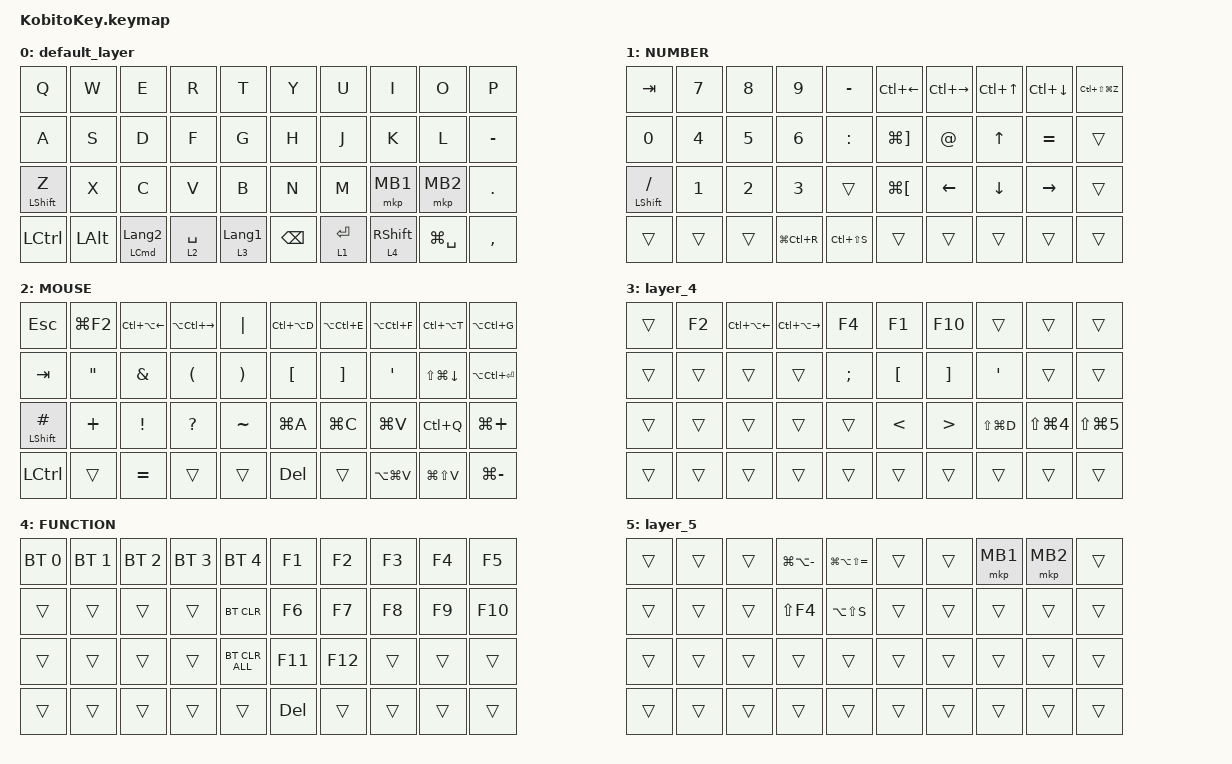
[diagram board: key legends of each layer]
#include <input/processors.dtsi>
#include <behaviors.dtsi>
#include <dt-bindings/zmk/bt.h>
#include <dt-bindings/zmk/keys.h>
#include <dt-bindings/zmk/pointing.h>

/ {
    combos {
        compatible = "zmk,combos";

        combo_eisu {
            timeout-ms = <50>;
            key-positions = <12 13>;
            bindings = <&kp LANG2>;
        };

        combo_kana {
            timeout-ms = <50>;
            key-positions = <16 17>;
            bindings = <&kp LANG1>;
        };

        combo_esc {
            timeout-ms = <50>;
            key-positions = <0 1>;
            bindings = <&kp ESC>;
        };

        combo_tab {
            timeout-ms = <50>;
            key-positions = <10 11>;
            bindings = <&kp TAB>;
        };
    };

    behaviors {
        z_shft: zmk,behavior-hold-tap {
            compatible = "zmk,behavior-hold-tap";
            #binding-cells = <2>;
            flavor = "tap-preferred";
            tapping-term-ms = <250>;
            bindings = <&kp>, <&kp>;
        };
    };

    keymap {
        compatible = "zmk,keymap";

        default_layer {
            bindings = <
&kp Q             &kp W     &kp E                &kp R        &kp T             &kp Y     &kp U        &kp I         &kp O          &kp P
&kp A             &kp S     &kp D                &kp F        &kp G             &kp H     &kp J        &kp K         &kp L          &kp MINUS
&z_shft LSHIFT Z  &kp X     &kp C                &kp V        &kp B             &kp N     &kp M        &mkp MB1      &mkp MB2       &kp PERIOD
&kp LCTRL         &kp LALT  &mt LCMD LANGUAGE_2  &lt 2 SPACE  &lt 3 LANGUAGE_1  &kp BSPC  &lt 1 ENTER  &lt 4 RSHIFT  &kp LG(SPACE)  &kp COMMA
            >;
        };

        layer1 {
            label = "NUMBER";
            bindings = <
&kp TAB           &kp N7        &kp N8        &kp N9         &kp MINUS      &kp LC(LEFT)           &kp LC(RIGHT)  &kp LC(UP)    &kp LC(DOWN)  &kp LC(LS(LG(Z)))
&kp N0            &kp N4        &kp N5        &kp N6         &kp COLON      &kp LG(RIGHT_BRACKET)  &kp AT_SIGN    &kp UP_ARROW  &kp EQUAL     &trans
&mt LSHIFT SLASH  &kp NUMBER_1  &kp NUMBER_2  &kp NUMBER_3   &trans         &kp LG(LEFT_BRACKET)   &kp LEFT       &kp DOWN      &kp RIGHT     &trans
&trans            &trans        &trans        &kp LG(LC(R))  &kp LC(LS(S))  &trans                 &trans         &trans        &trans        &trans
            >;
        };

        layer3 {
            label = "MOUSE";
            bindings = <
&kp ESCAPE       &kp LG(F2)         &kp LC(LA(LEFT))  &kp LA(LC(RIGHT))     &kp PIPE               &kp LC(LA(D))     &kp LA(LC(E))      &kp LA(LC(F))  &kp LC(LA(T))     &kp LA(LC(G))
&kp TAB          &kp DOUBLE_QUOTES  &kp AMPERSAND     &kp LEFT_PARENTHESIS  &kp RIGHT_PARENTHESIS  &kp LEFT_BRACKET  &kp RIGHT_BRACKET  &kp SQT        &kp LS(LG(DOWN))  &kp LA(LC(ENTER))
&mt LSHIFT HASH  &kp PLUS           &kp EXCLAMATION   &kp QUESTION          &kp TILDE              &kp LG(A)         &kp LG(C)          &kp LG(V)      &kp LC(Q)         &kp LG(PLUS)
&kp LCTRL        &trans             &kp EQUAL         &trans                &trans                 &kp DELETE        &trans             &kp LA(LG(V))  &kp LG(LS(V))     &kp LG(MINUS)
            >;
        };

        layer_4 {
            bindings = <
&trans  &kp F2  &kp LC(LA(LEFT))  &kp LC(LA(RIGHT))  &kp F4         &kp F1            &kp F10            &trans         &trans                &trans
&trans  &trans  &trans            &trans             &kp SEMICOLON  &kp LEFT_BRACKET  &kp RIGHT_BRACKET  &kp SQT        &trans                &trans
&trans  &trans  &trans            &trans             &trans         &kp LESS_THAN     &kp GREATER_THAN   &kp LS(LG(D))  &kp LS(LG(NUMBER_4))  &kp LS(LG(N5))
&trans  &trans  &trans            &trans             &trans         &trans            &trans             &trans         &trans                &trans
            >;
        };

        layer2 {
            label = "FUNCTION";
            bindings = <
&bt BT_SEL 0  &bt BT_SEL 1  &bt BT_SEL 2  &bt BT_SEL 3  &bt BT_SEL 4    &kp F1   &kp F2   &kp F3  &kp F4  &kp F5
&trans        &trans        &trans        &trans        &bt BT_CLR      &kp F6   &kp F7   &kp F8  &kp F9  &kp F10
&trans        &trans        &trans        &trans        &bt BT_CLR_ALL  &kp F11  &kp F12  &trans  &trans  &trans
&trans        &trans        &trans        &trans        &trans          &kp DEL  &trans   &trans  &trans  &trans
            >;
        };

        layer_5 {
            bindings = <
&trans  &trans  &trans  &kp LG(LA(MINUS))  &kp LG(LA(LS(EQUAL)))  &trans  &trans  &mkp MB1  &mkp MB2  &trans
&trans  &trans  &trans  &kp LS(F4)         &kp LA(LS(S))          &trans  &trans  &trans  &trans  &trans
&trans  &trans  &trans  &trans             &trans                 &trans  &trans  &trans  &trans  &trans
&trans  &trans  &trans  &trans             &trans                 &trans  &trans  &trans  &trans  &trans
            >;
        };
    };
};
